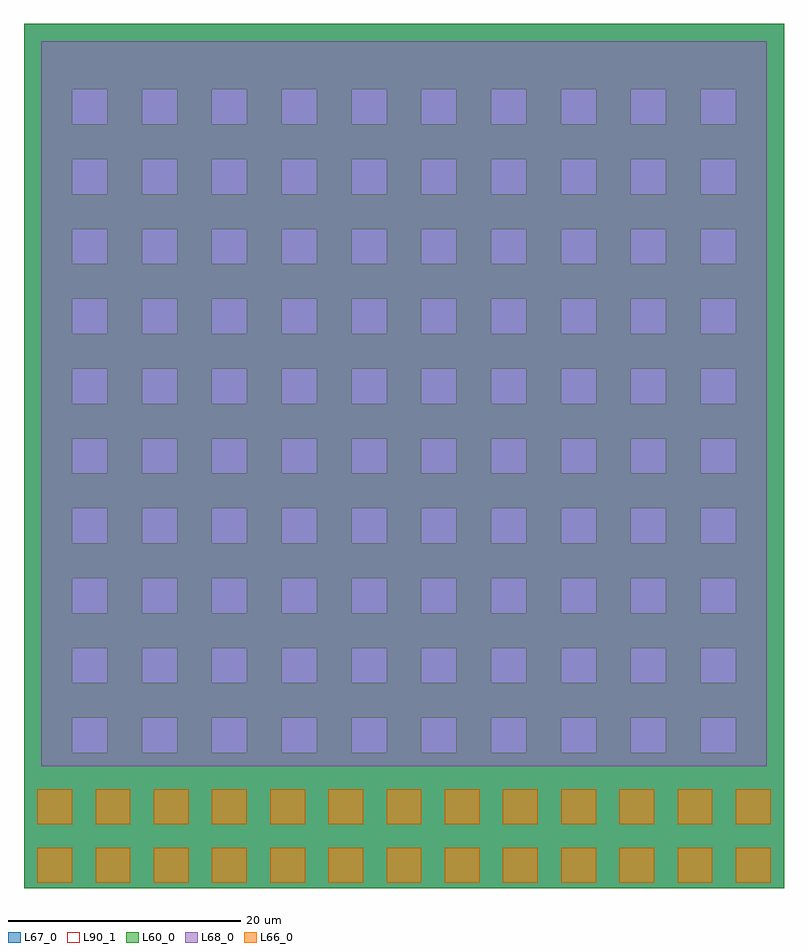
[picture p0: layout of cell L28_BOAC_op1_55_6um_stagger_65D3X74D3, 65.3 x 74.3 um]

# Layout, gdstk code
import gdstk
lib = gdstk.Library(unit=1e-6, precision=1e-09)
def R(c, l, rs):  # rectangles x0, y0, x1, y1
    for r in rs: c.add(gdstk.rectangle(r[:2], r[2:], *l))
def A(c, l, x, y, w, h, nx, ny, dx, dy):  # array of equal rectangles
    R(c, l, [(x+i*dx, y+j*dy, x+i*dx+w, y+j*dy+h) for i in range(nx) for j in range(ny)])
def P(c, l, *ps):  # polygons
    for p in ps: c.add(gdstk.Polygon(p, *l))
L60_0 = (60, 0)
L66_0 = (66, 0)
L67_0 = (67, 0)
L68_0 = (68, 0)
L90_1 = (90, 1)

al_m8_cdns_717751964140 = lib.new_cell('AL_M8_CDNS_717751964140')
R(al_m8_cdns_717751964140, L60_0, [(-32.5,-4.35,32.5,4.35)])
A(al_m8_cdns_717751964140, L66_0, -31.5, -4, 3, 3, 13, 2, 5, 5)
R(al_m8_cdns_717751964140, L67_0, [(-32.65,-4.5,32.65,4.5)])

l28_boac_op1_55_6um_stag = lib.new_cell('L28_BOAC_op1_55_6um_stagger_65D3X74D3')
P(l28_boac_op1_55_6um_stag, L60_0, [(65.3,37.15),(61.15,37.15),(61.15,11.65),(58.15,11.65),(58.15,14.65),(61.15,14.65),(61.15,17.65),(58.15,17.65),(58.15,20.65),(61.15,20.65),(61.15,23.65),(58.15,23.65),(58.15,26.65),(61.15,26.65),(61.15,29.65),(58.15,29.65),(58.15,32.65),(61.15,32.65),(61.15,35.65),(58.15,35.65),(58.15,37.15),(55.15,37.15),(55.15,11.65),(52.15,11.65),(52.15,14.65),(55.15,14.65),(55.15,17.65),(52.15,17.65),(52.15,20.65),(55.15,20.65),(55.15,23.65),(52.15,23.65),(52.15,26.65),(55.15,26.65),(55.15,29.65),(52.15,29.65),(52.15,32.65),(55.15,32.65),(55.15,35.65),(52.15,35.65),(52.15,37.15),(49.15,37.15),(49.15,11.65),(46.15,11.65),(46.15,14.65),(49.15,14.65),(49.15,17.65),(46.15,17.65),(46.15,20.65),(49.15,20.65),(49.15,23.65),(46.15,23.65),(46.15,26.65),(49.15,26.65),(49.15,29.65),(46.15,29.65),(46.15,32.65),(49.15,32.65),(49.15,35.65),(46.15,35.65),(46.15,37.15),(43.15,37.15),(43.15,11.65),(40.15,11.65),(40.15,14.65),(43.15,14.65),(43.15,17.65),(40.15,17.65),(40.15,20.65),(43.15,20.65),(43.15,23.65),(40.15,23.65),(40.15,26.65),(43.15,26.65),(43.15,29.65),(40.15,29.65),(40.15,32.65),(43.15,32.65),(43.15,35.65),(40.15,35.65),(40.15,37.15),(37.15,37.15),(37.15,11.65),(34.15,11.65),(34.15,14.65),(37.15,14.65),(37.15,17.65),(34.15,17.65),(34.15,20.65),(37.15,20.65),(37.15,23.65),(34.15,23.65),(34.15,26.65),(37.15,26.65),(37.15,29.65),(34.15,29.65),(34.15,32.65),(37.15,32.65),(37.15,35.65),(34.15,35.65),(34.15,37.15),(32.65,37.15),(32.65,0),(65.3,0)],
  [(32.65,37.15),(31.15,37.15),(31.15,11.65),(28.15,11.65),(28.15,14.65),(31.15,14.65),(31.15,17.65),(28.15,17.65),(28.15,20.65),(31.15,20.65),(31.15,23.65),(28.15,23.65),(28.15,26.65),(31.15,26.65),(31.15,29.65),(28.15,29.65),(28.15,32.65),(31.15,32.65),(31.15,35.65),(28.15,35.65),(28.15,37.15),(25.15,37.15),(25.15,11.65),(22.15,11.65),(22.15,14.65),(25.15,14.65),(25.15,17.65),(22.15,17.65),(22.15,20.65),(25.15,20.65),(25.15,23.65),(22.15,23.65),(22.15,26.65),(25.15,26.65),(25.15,29.65),(22.15,29.65),(22.15,32.65),(25.15,32.65),(25.15,35.65),(22.15,35.65),(22.15,37.15),(19.15,37.15),(19.15,11.65),(16.15,11.65),(16.15,14.65),(19.15,14.65),(19.15,17.65),(16.15,17.65),(16.15,20.65),(19.15,20.65),(19.15,23.65),(16.15,23.65),(16.15,26.65),(19.15,26.65),(19.15,29.65),(16.15,29.65),(16.15,32.65),(19.15,32.65),(19.15,35.65),(16.15,35.65),(16.15,37.15),(13.15,37.15),(13.15,11.65),(10.15,11.65),(10.15,14.65),(13.15,14.65),(13.15,17.65),(10.15,17.65),(10.15,20.65),(13.15,20.65),(13.15,23.65),(10.15,23.65),(10.15,26.65),(13.15,26.65),(13.15,29.65),(10.15,29.65),(10.15,32.65),(13.15,32.65),(13.15,35.65),(10.15,35.65),(10.15,37.15),(7.15,37.15),(7.15,11.65),(4.15,11.65),(4.15,14.65),(7.15,14.65),(7.15,17.65),(4.15,17.65),(4.15,20.65),(7.15,20.65),(7.15,23.65),(4.15,23.65),(4.15,26.65),(7.15,26.65),(7.15,29.65),(4.15,29.65),(4.15,32.65),(7.15,32.65),(7.15,35.65),(4.15,35.65),(4.15,37.15),(0,37.15),(0,0),(32.65,0)],
  [(65.3,74.3),(61.15,74.3),(61.15,41.65),(58.15,41.65),(58.15,44.65),(61.15,44.65),(61.15,47.65),(58.15,47.65),(58.15,50.65),(61.15,50.65),(61.15,53.65),(58.15,53.65),(58.15,56.65),(61.15,56.65),(61.15,59.65),(58.15,59.65),(58.15,62.65),(61.15,62.65),(61.15,65.65),(58.15,65.65),(58.15,68.65),(61.15,68.65),(61.15,74.3),(55.15,74.3),(55.15,41.65),(52.15,41.65),(52.15,44.65),(55.15,44.65),(55.15,47.65),(52.15,47.65),(52.15,50.65),(55.15,50.65),(55.15,53.65),(52.15,53.65),(52.15,56.65),(55.15,56.65),(55.15,59.65),(52.15,59.65),(52.15,62.65),(55.15,62.65),(55.15,65.65),(52.15,65.65),(52.15,68.65),(55.15,68.65),(55.15,74.3),(49.15,74.3),(49.15,41.65),(46.15,41.65),(46.15,44.65),(49.15,44.65),(49.15,47.65),(46.15,47.65),(46.15,50.65),(49.15,50.65),(49.15,53.65),(46.15,53.65),(46.15,56.65),(49.15,56.65),(49.15,59.65),(46.15,59.65),(46.15,62.65),(49.15,62.65),(49.15,65.65),(46.15,65.65),(46.15,68.65),(49.15,68.65),(49.15,74.3),(43.15,74.3),(43.15,41.65),(40.15,41.65),(40.15,44.65),(43.15,44.65),(43.15,47.65),(40.15,47.65),(40.15,50.65),(43.15,50.65),(43.15,53.65),(40.15,53.65),(40.15,56.65),(43.15,56.65),(43.15,59.65),(40.15,59.65),(40.15,62.65),(43.15,62.65),(43.15,65.65),(40.15,65.65),(40.15,68.65),(43.15,68.65),(43.15,74.3),(37.15,74.3),(37.15,41.65),(34.15,41.65),(34.15,44.65),(37.15,44.65),(37.15,47.65),(34.15,47.65),(34.15,50.65),(37.15,50.65),(37.15,53.65),(34.15,53.65),(34.15,56.65),(37.15,56.65),(37.15,59.65),(34.15,59.65),(34.15,62.65),(37.15,62.65),(37.15,65.65),(34.15,65.65),(34.15,68.65),(37.15,68.65),(37.15,74.3),(32.65,74.3),(32.65,37.15),(34.15,37.15),(34.15,38.65),(37.15,38.65),(37.15,37.15),(40.15,37.15),(40.15,38.65),(43.15,38.65),(43.15,37.15),(46.15,37.15),(46.15,38.65),(49.15,38.65),(49.15,37.15),(52.15,37.15),(52.15,38.65),(55.15,38.65),(55.15,37.15),(58.15,37.15),(58.15,38.65),(61.15,38.65),(61.15,37.15),(65.3,37.15)],
  [(32.65,74.3),(31.15,74.3),(31.15,41.65),(28.15,41.65),(28.15,44.65),(31.15,44.65),(31.15,47.65),(28.15,47.65),(28.15,50.65),(31.15,50.65),(31.15,53.65),(28.15,53.65),(28.15,56.65),(31.15,56.65),(31.15,59.65),(28.15,59.65),(28.15,62.65),(31.15,62.65),(31.15,65.65),(28.15,65.65),(28.15,68.65),(31.15,68.65),(31.15,74.3),(25.15,74.3),(25.15,41.65),(22.15,41.65),(22.15,44.65),(25.15,44.65),(25.15,47.65),(22.15,47.65),(22.15,50.65),(25.15,50.65),(25.15,53.65),(22.15,53.65),(22.15,56.65),(25.15,56.65),(25.15,59.65),(22.15,59.65),(22.15,62.65),(25.15,62.65),(25.15,65.65),(22.15,65.65),(22.15,68.65),(25.15,68.65),(25.15,74.3),(19.15,74.3),(19.15,41.65),(16.15,41.65),(16.15,44.65),(19.15,44.65),(19.15,47.65),(16.15,47.65),(16.15,50.65),(19.15,50.65),(19.15,53.65),(16.15,53.65),(16.15,56.65),(19.15,56.65),(19.15,59.65),(16.15,59.65),(16.15,62.65),(19.15,62.65),(19.15,65.65),(16.15,65.65),(16.15,68.65),(19.15,68.65),(19.15,74.3),(13.15,74.3),(13.15,41.65),(10.15,41.65),(10.15,44.65),(13.15,44.65),(13.15,47.65),(10.15,47.65),(10.15,50.65),(13.15,50.65),(13.15,53.65),(10.15,53.65),(10.15,56.65),(13.15,56.65),(13.15,59.65),(10.15,59.65),(10.15,62.65),(13.15,62.65),(13.15,65.65),(10.15,65.65),(10.15,68.65),(13.15,68.65),(13.15,74.3),(7.15,74.3),(7.15,41.65),(4.15,41.65),(4.15,44.65),(7.15,44.65),(7.15,47.65),(4.15,47.65),(4.15,50.65),(7.15,50.65),(7.15,53.65),(4.15,53.65),(4.15,56.65),(7.15,56.65),(7.15,59.65),(4.15,59.65),(4.15,62.65),(7.15,62.65),(7.15,65.65),(4.15,65.65),(4.15,68.65),(7.15,68.65),(7.15,74.3),(0,74.3),(0,37.15),(4.15,37.15),(4.15,38.65),(7.15,38.65),(7.15,37.15),(10.15,37.15),(10.15,38.65),(13.15,38.65),(13.15,37.15),(16.15,37.15),(16.15,38.65),(19.15,38.65),(19.15,37.15),(22.15,37.15),(22.15,38.65),(25.15,38.65),(25.15,37.15),(28.15,37.15),(28.15,38.65),(31.15,38.65),(31.15,37.15),(32.65,37.15)])
R(l28_boac_op1_55_6um_stag, L67_0, [(0,0,65.3,74.3), (0,0,65.3,74.3), (0,0,65.3,74.3)])
R(l28_boac_op1_55_6um_stag, L68_0, [(1.5,10.5,63.8,72.8)])
R(l28_boac_op1_55_6um_stag, L90_1, [(0,0,65.3,74.3)])
l28_boac_op1_55_6um_stag.add(gdstk.Reference(al_m8_cdns_717751964140, (32.65,4.5)))

lib.write_gds('L28_BOAC_op1_55_6um_stagger_65D3X74D3.gds')
